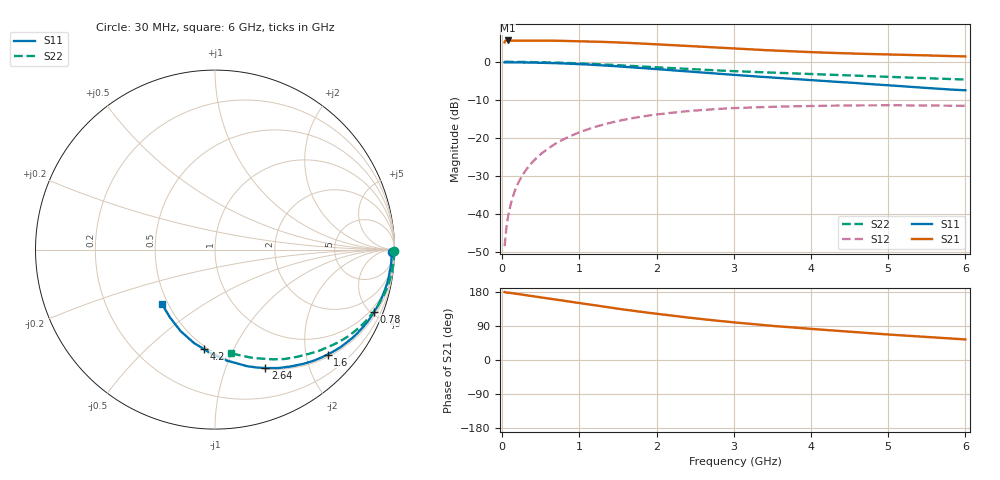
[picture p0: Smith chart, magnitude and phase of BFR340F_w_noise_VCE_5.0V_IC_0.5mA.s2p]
! Infineon Technologies  Discrete & RF Semiconductors
! BFR340F
! VCE =  5.0 V,  IC =  0.5 mA
! Common Emitter S-Parameters:  Nov 2015
# GHz  S  MA  R  50
!  f  S11  S21  S12  S22
! GHz  MAG  ANG  MAG  ANG  MAG  ANG  MAG  ANG
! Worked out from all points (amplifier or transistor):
!   206 points, 30 MHz to 6 GHz, reference 50 ohm
!   highest |S21| = 5.6 dB at 70 MHz (marker M1)
!   |S21| within 3 dB of that: start of sweep to 3.916 GHz
!   unconditionally stable (mu >= 1): nowhere
!   at 200 MHz: K = 0.03, MSG = 18.8 dB, |S12| = -32.1 dB
!   at 1.56 GHz: K = 0.29, MSG = 10.2 dB, |S12| = -15.3 dB
!   at 6 GHz: K = 0.91, MSG = 6.5 dB, |S12| = -11.5 dB
!   lowest NFmin = 0.60 dB at 450 MHz
!   S11 on the Smith chart (normalised r, x): 30 MHz: open; 780 MHz: 0.69, -5.20; 1.6 GHz: 0.55, -2.43; 2.64 GHz: 0.51, -1.38; 4.2 GHz: 0.48, -0.77; 6 GHz: 0.46, -0.34
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0.03  0.9859 -0.8  1.802 179.3  0.0038 88.0  0.9986 -0.6
0.04  0.9845 -1.2  1.896 178.6  0.0049 89.4  0.9978 -0.8
0.05  0.9855 -1.5  1.895 178.0  0.0063 89.9  0.9985 -1.0
0.07  0.9836 -2.0  1.907 177.6  0.0087 88.0  0.9994 -1.4
0.12  0.985 -3.3  1.898 176.6  0.0149 87.5  0.9986 -2.5
0.165  0.9844 -4.5  1.899 175.1  0.0206 86.7  0.9977 -3.4
0.24  0.9816 -6.6  1.903 173.0  0.0298 85.1  0.9963 -5.0
0.3  0.9809 -8.3  1.901 171.2  0.0372 84.0  0.9948 -6.2
0.5  0.9723 -13.7  1.897 165.3  0.0615 80.0  0.9871 -10.4
0.78  0.9525 -21.4  1.884 156.7  0.0944 74.4  0.9709 -16.1
1.04  0.9282 -28.3  1.86 148.9  0.123 69.2  0.9498 -21.3
1.24  0.9051 -33.7  1.837 142.9  0.1434 65.3  0.9307 -25.2
1.6  0.8576 -43.0  1.779 132.5  0.1755 58.6  0.8923 -31.8
2.02  0.7999 -53.0  1.693 121.4  0.2046 51.8  0.8463 -38.7
2.4  0.7487 -61.8  1.619 112.2  0.2252 46.4  0.8077 -44.4
2.64  0.7167 -67.0  1.567 106.8  0.235 43.5  0.7836 -47.7
3.1  0.6628 -76.2  1.478 97.5  0.2488 38.6  0.747 -53.3
3.5  0.6226 -83.8  1.41 90.0  0.2572 35.1  0.7214 -57.7
4.1  0.5663 -94.6  1.328 80.6  0.2643 31.5  0.6862 -62.9
4.2  0.5572 -96.5  1.317 79.2  0.2651 31.0  0.68 -63.8
5.1  0.4842 -114.8  1.242 66.0  0.2686 27.1  0.6296 -72.3
6  0.4227 -134.7  1.177 54.3  0.2646 26.0  0.5849 -81.0
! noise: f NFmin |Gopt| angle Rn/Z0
0.45  0.6  0.91  5  1.13
0.9  0.64  0.87  13  1.13
1.9  1.21  0.74  27  0.92
2.4  1.31  0.7  36  0.86
